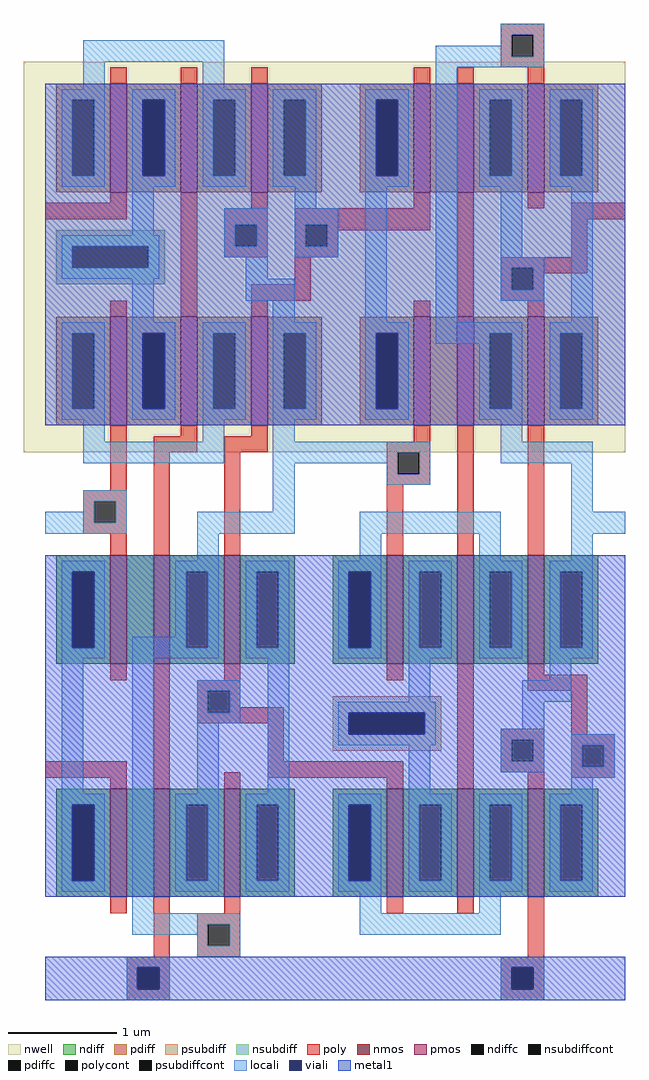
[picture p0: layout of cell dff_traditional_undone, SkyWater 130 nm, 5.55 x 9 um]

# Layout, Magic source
magic
tech sky130A
<< nwell >>
rect -100 345 455 705
<< nmos >>
rect -20 150 -5 250
rect 20 150 35 250
rect 85 150 100 250
rect 235 150 250 250
rect 300 150 315 250
rect 365 150 380 250
rect -20 -65 -5 35
rect 20 -65 35 35
rect 85 -65 100 35
rect 235 -65 250 35
rect 300 -65 315 35
rect 365 -65 380 35
<< pmos >>
rect -20 585 -5 685
rect 45 585 60 685
rect 110 585 125 685
rect 260 585 275 685
rect 300 585 315 685
rect 365 585 380 685
rect -20 370 -5 470
rect 45 370 60 470
rect 110 370 125 470
rect 260 370 275 470
rect 300 370 315 470
rect 365 370 380 470
<< ndiff >>
rect -70 235 -20 250
rect -70 165 -55 235
rect -35 165 -20 235
rect -70 150 -20 165
rect -5 150 20 250
rect 35 235 85 250
rect 35 165 50 235
rect 70 165 85 235
rect 35 150 85 165
rect 100 235 150 250
rect 100 165 115 235
rect 135 165 150 235
rect 100 150 150 165
rect 185 235 235 250
rect 185 165 200 235
rect 220 165 235 235
rect 185 150 235 165
rect 250 235 300 250
rect 250 165 265 235
rect 285 165 300 235
rect 250 150 300 165
rect 315 235 365 250
rect 315 165 330 235
rect 350 165 365 235
rect 315 150 365 165
rect 380 235 430 250
rect 380 165 395 235
rect 415 165 430 235
rect 380 150 430 165
rect -70 20 -20 35
rect -70 -50 -55 20
rect -35 -50 -20 20
rect -70 -65 -20 -50
rect -5 -65 20 35
rect 35 20 85 35
rect 35 -50 50 20
rect 70 -50 85 20
rect 35 -65 85 -50
rect 100 20 150 35
rect 100 -50 115 20
rect 135 -50 150 20
rect 100 -65 150 -50
rect 185 20 235 35
rect 185 -50 200 20
rect 220 -50 235 20
rect 185 -65 235 -50
rect 250 20 300 35
rect 250 -50 265 20
rect 285 -50 300 20
rect 250 -65 300 -50
rect 315 20 365 35
rect 315 -50 330 20
rect 350 -50 365 20
rect 315 -65 365 -50
rect 380 20 430 35
rect 380 -50 395 20
rect 415 -50 430 20
rect 380 -65 430 -50
<< pdiff >>
rect -70 670 -20 685
rect -70 600 -55 670
rect -35 600 -20 670
rect -70 585 -20 600
rect -5 670 45 685
rect -5 600 10 670
rect 30 600 45 670
rect -5 585 45 600
rect 60 670 110 685
rect 60 600 75 670
rect 95 600 110 670
rect 60 585 110 600
rect 125 670 175 685
rect 125 600 140 670
rect 160 600 175 670
rect 125 585 175 600
rect 210 670 260 685
rect 210 600 225 670
rect 245 600 260 670
rect 210 585 260 600
rect 275 585 300 685
rect 315 670 365 685
rect 315 600 330 670
rect 350 600 365 670
rect 315 585 365 600
rect 380 670 430 685
rect 380 600 395 670
rect 415 600 430 670
rect 380 585 430 600
rect -70 455 -20 470
rect -70 385 -55 455
rect -35 385 -20 455
rect -70 370 -20 385
rect -5 455 45 470
rect -5 385 10 455
rect 30 385 45 455
rect -5 370 45 385
rect 60 455 110 470
rect 60 385 75 455
rect 95 385 110 455
rect 60 370 110 385
rect 125 455 175 470
rect 125 385 140 455
rect 160 385 175 455
rect 125 370 175 385
rect 210 455 260 470
rect 210 385 225 455
rect 245 385 260 455
rect 210 370 260 385
rect 275 370 300 470
rect 315 455 365 470
rect 315 385 330 455
rect 350 385 365 455
rect 315 370 365 385
rect 380 455 430 470
rect 380 385 395 455
rect 415 385 430 455
rect 380 370 430 385
<< ndiffc >>
rect -55 165 -35 235
rect 50 165 70 235
rect 115 165 135 235
rect 200 165 220 235
rect 265 165 285 235
rect 330 165 350 235
rect 395 165 415 235
rect -55 -50 -35 20
rect 50 -50 70 20
rect 115 -50 135 20
rect 200 -50 220 20
rect 265 -50 285 20
rect 330 -50 350 20
rect 395 -50 415 20
<< pdiffc >>
rect -55 600 -35 670
rect 10 600 30 670
rect 75 600 95 670
rect 140 600 160 670
rect 225 600 245 670
rect 330 600 350 670
rect 395 600 415 670
rect -55 385 -35 455
rect 10 385 30 455
rect 75 385 95 455
rect 140 385 160 455
rect 225 385 245 455
rect 330 385 350 455
rect 395 385 415 455
<< psubdiff >>
rect 185 105 285 120
rect 185 85 200 105
rect 270 85 285 105
rect 185 70 285 85
<< nsubdiff >>
rect -70 535 30 550
rect -70 515 -55 535
rect 15 515 30 535
rect -70 500 30 515
<< psubdiffcont >>
rect 200 85 270 105
<< nsubdiffcont >>
rect -55 515 15 535
<< poly >>
rect 340 730 380 740
rect 340 710 350 730
rect 370 710 380 730
rect 340 700 380 710
rect -20 685 -5 700
rect 45 685 60 700
rect 110 685 125 700
rect 260 685 275 700
rect 300 685 315 700
rect 365 685 380 700
rect -20 575 -5 585
rect -80 560 -5 575
rect -20 470 -5 485
rect 45 470 60 585
rect 110 570 125 585
rect 260 570 275 585
rect 85 555 125 570
rect 85 535 95 555
rect 115 535 125 555
rect 85 525 125 535
rect 150 555 275 570
rect 150 535 160 555
rect 180 550 275 555
rect 180 535 190 550
rect 150 525 190 535
rect 150 500 165 525
rect 110 485 165 500
rect 110 470 125 485
rect 260 470 275 485
rect 300 470 315 585
rect 365 570 380 585
rect 405 560 455 575
rect 405 525 420 560
rect 340 515 420 525
rect 340 495 350 515
rect 370 510 420 515
rect 370 495 380 510
rect 340 485 380 495
rect 365 470 380 485
rect -20 310 -5 370
rect 45 360 60 370
rect 110 360 125 370
rect -45 300 -5 310
rect -45 280 -35 300
rect -15 280 -5 300
rect -45 270 -5 280
rect -20 250 -5 270
rect 20 345 60 360
rect 85 345 125 360
rect 260 355 275 370
rect 235 345 275 355
rect 20 250 35 345
rect 85 250 100 345
rect 235 325 245 345
rect 265 325 275 345
rect 235 315 275 325
rect 235 250 250 315
rect 300 250 315 370
rect 365 250 380 370
rect -20 135 -5 150
rect -80 45 -5 60
rect -20 35 -5 45
rect 20 35 35 150
rect 85 135 100 150
rect 235 135 250 150
rect 60 125 100 135
rect 60 105 70 125
rect 90 110 100 125
rect 90 105 140 110
rect 60 95 140 105
rect 125 60 140 95
rect 85 35 100 50
rect 125 45 250 60
rect 235 35 250 45
rect 300 35 315 150
rect 365 140 380 150
rect 365 125 420 140
rect 340 80 380 90
rect 340 60 350 80
rect 370 60 380 80
rect 340 50 380 60
rect 365 35 380 50
rect 405 85 420 125
rect 405 75 445 85
rect 405 55 415 75
rect 435 55 445 75
rect 405 45 445 55
rect -20 -80 -5 -65
rect 20 -120 35 -65
rect 85 -80 100 -65
rect 235 -80 250 -65
rect 300 -80 315 -65
rect 60 -90 100 -80
rect 60 -110 70 -90
rect 90 -110 100 -90
rect 60 -120 100 -110
rect 365 -120 380 -65
rect -5 -130 35 -120
rect -5 -150 5 -130
rect 25 -150 35 -130
rect -5 -160 35 -150
rect 340 -130 380 -120
rect 340 -150 350 -130
rect 370 -150 380 -130
rect 340 -160 380 -150
<< polycont >>
rect 350 710 370 730
rect 95 535 115 555
rect 160 535 180 555
rect 350 495 370 515
rect -35 280 -15 300
rect 245 325 265 345
rect 70 105 90 125
rect 350 60 370 80
rect 415 55 435 75
rect 70 -110 90 -90
rect 5 -150 25 -130
rect 350 -150 370 -130
<< locali >>
rect 340 730 380 740
rect -45 705 85 725
rect 340 720 350 730
rect -45 680 -25 705
rect 65 680 85 705
rect 280 710 350 720
rect 370 710 380 730
rect 280 700 380 710
rect -65 670 -25 680
rect -65 600 -55 670
rect -35 600 -25 670
rect -65 590 -25 600
rect 0 670 40 680
rect 0 600 10 670
rect 30 600 40 670
rect 0 590 40 600
rect 65 670 105 680
rect 65 600 75 670
rect 95 600 105 670
rect 65 590 105 600
rect 130 670 170 680
rect 130 600 140 670
rect 160 600 170 670
rect 130 590 170 600
rect 0 545 20 590
rect 150 570 170 590
rect 215 670 255 680
rect 215 600 225 670
rect 245 600 255 670
rect 215 590 255 600
rect 85 555 125 570
rect -65 535 25 545
rect -65 515 -55 535
rect 15 515 25 535
rect 85 535 95 555
rect 115 535 125 555
rect 85 525 125 535
rect 150 555 190 570
rect 150 535 160 555
rect 180 535 190 555
rect 150 525 190 535
rect -65 505 25 515
rect 105 505 125 525
rect 0 465 20 505
rect 105 485 150 505
rect 130 465 150 485
rect 215 465 235 590
rect 280 465 300 700
rect 320 670 360 680
rect 320 600 330 670
rect 350 600 360 670
rect 320 590 360 600
rect 385 670 425 680
rect 385 600 395 670
rect 415 600 425 670
rect 385 590 425 600
rect 340 525 360 590
rect 340 515 380 525
rect 340 495 350 515
rect 370 495 380 515
rect 340 485 380 495
rect 405 465 425 590
rect -65 455 -25 465
rect -65 385 -55 455
rect -35 385 -25 455
rect -65 375 -25 385
rect 0 455 40 465
rect 0 385 10 455
rect 30 385 40 455
rect 0 375 40 385
rect 65 455 105 465
rect 65 385 75 455
rect 95 385 105 455
rect 65 375 105 385
rect 130 455 170 465
rect 130 385 140 455
rect 160 385 170 455
rect 130 375 170 385
rect 215 455 255 465
rect 215 385 225 455
rect 245 385 255 455
rect 280 455 360 465
rect 280 445 330 455
rect 215 375 255 385
rect 320 385 330 445
rect 350 385 360 455
rect 320 375 360 385
rect 385 455 425 465
rect 385 385 395 455
rect 415 385 425 455
rect 385 375 425 385
rect -45 355 -25 375
rect 65 355 85 375
rect -45 335 85 355
rect 130 355 150 375
rect 340 355 360 375
rect 130 345 275 355
rect 130 335 245 345
rect -45 300 -5 310
rect -45 290 -35 300
rect -80 280 -35 290
rect -15 280 -5 300
rect 130 290 150 335
rect 235 325 245 335
rect 265 325 275 345
rect 340 335 425 355
rect 235 315 275 325
rect 405 290 425 335
rect -80 270 -5 280
rect 60 270 150 290
rect 210 270 340 290
rect 60 245 80 270
rect 210 245 230 270
rect 320 245 340 270
rect 405 270 455 290
rect 405 245 425 270
rect -65 235 -25 245
rect -65 165 -55 235
rect -35 165 -25 235
rect 40 235 80 245
rect 40 175 50 235
rect -65 155 -25 165
rect 0 165 50 175
rect 70 165 80 235
rect 0 155 80 165
rect 105 235 145 245
rect 105 165 115 235
rect 135 165 145 235
rect 105 155 145 165
rect 190 235 230 245
rect 190 165 200 235
rect 220 165 230 235
rect 190 155 230 165
rect 255 235 295 245
rect 255 165 265 235
rect 285 165 295 235
rect 255 155 295 165
rect 320 235 360 245
rect 320 165 330 235
rect 350 165 360 235
rect 320 155 360 165
rect 385 235 425 245
rect 385 165 395 235
rect 415 165 425 235
rect 385 155 425 165
rect -65 30 -45 155
rect -65 20 -25 30
rect -65 -50 -55 20
rect -35 -50 -25 20
rect -65 -60 -25 -50
rect 0 -80 20 155
rect 60 125 100 135
rect 60 105 70 125
rect 90 105 100 125
rect 60 95 100 105
rect 60 30 80 95
rect 125 30 145 155
rect 255 115 275 155
rect 385 135 405 155
rect 360 115 405 135
rect 190 105 280 115
rect 190 85 200 105
rect 270 85 280 105
rect 360 90 380 115
rect 190 75 280 85
rect 340 80 380 90
rect 255 30 275 75
rect 340 60 350 80
rect 370 60 380 80
rect 340 50 380 60
rect 405 75 445 85
rect 405 55 415 75
rect 435 55 445 75
rect 405 45 445 55
rect 405 30 425 45
rect 40 20 80 30
rect 40 -50 50 20
rect 70 -50 80 20
rect 40 -60 80 -50
rect 105 20 145 30
rect 105 -50 115 20
rect 135 -50 145 20
rect 105 -60 145 -50
rect 190 20 230 30
rect 190 -50 200 20
rect 220 -50 230 20
rect 190 -60 230 -50
rect 255 20 295 30
rect 255 -50 265 20
rect 285 -50 295 20
rect 255 -60 295 -50
rect 320 20 360 30
rect 320 -50 330 20
rect 350 -50 360 20
rect 320 -60 360 -50
rect 385 20 425 30
rect 385 -50 395 20
rect 415 -50 425 20
rect 385 -60 425 -50
rect 210 -80 230 -60
rect 320 -80 340 -60
rect 0 -90 100 -80
rect 0 -100 70 -90
rect 60 -110 70 -100
rect 90 -110 100 -90
rect 210 -100 340 -80
rect 60 -120 100 -110
rect -5 -130 35 -120
rect -5 -150 5 -130
rect 25 -150 35 -130
rect -5 -160 35 -150
rect 340 -130 380 -120
rect 340 -150 350 -130
rect 370 -150 380 -130
rect 340 -160 380 -150
<< viali >>
rect 10 600 30 670
rect 225 600 245 670
rect 10 385 30 455
rect 225 385 245 455
rect -55 165 -35 235
rect 200 165 220 235
rect -55 -50 -35 20
rect 200 85 270 105
rect 200 -50 220 20
rect 5 -150 25 -130
rect 350 -150 370 -130
<< metal1 >>
rect -80 670 455 685
rect -80 600 10 670
rect 30 600 225 670
rect 245 600 455 670
rect -80 455 455 600
rect -80 385 10 455
rect 30 385 225 455
rect 245 385 455 455
rect -80 370 455 385
rect -80 235 455 250
rect -80 165 -55 235
rect -35 165 200 235
rect 220 165 455 235
rect -80 105 455 165
rect -80 85 200 105
rect 270 85 455 105
rect -80 20 455 85
rect -80 -50 -55 20
rect -35 -50 200 20
rect 220 -50 455 20
rect -80 -65 455 -50
rect -80 -130 455 -120
rect -80 -150 5 -130
rect 25 -150 350 -130
rect 370 -150 455 -130
rect -80 -160 455 -150
<< end >>
